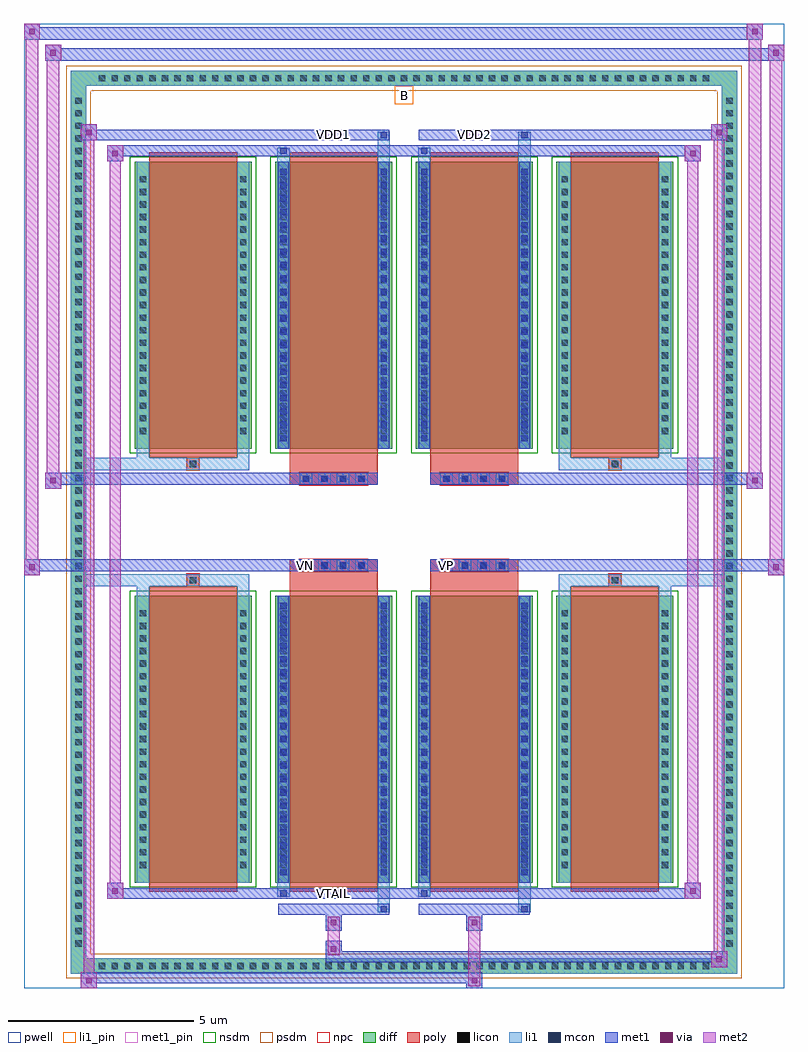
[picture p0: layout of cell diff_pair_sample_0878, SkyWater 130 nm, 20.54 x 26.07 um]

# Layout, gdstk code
import gdstk
lib = gdstk.Library(unit=1e-6, precision=5e-09)
def R(c, l, rs):  # rectangles x0, y0, x1, y1
    for r in rs: c.add(gdstk.rectangle(r[:2], r[2:], *l))
def A(c, l, x, y, w, h, nx, ny, dx, dy):  # array of equal rectangles
    R(c, l, [(x+i*dx, y+j*dy, x+i*dx+w, y+j*dy+h) for i in range(nx) for j in range(ny)])
def P(c, l, *ps):  # polygons
    for p in ps: c.add(gdstk.Polygon(p, *l))
pwell = (64, 44)
diff = (65, 20)
poly = (66, 20)
licon = (66, 44)
li1_pin = (67, 16)
li1 = (67, 20)
mcon = (67, 44)
met1_pin = (68, 16)
met1 = (68, 20)
via = (68, 44)
met2 = (69, 20)
nsdm = (93, 44)
psdm = (94, 20)
npc = (95, 20)

diff_pair_sample_0878 = lib.new_cell('diff_pair_sample_0878')
R(diff_pair_sample_0878, pwell, [(-10.27,-12.6,10.27,13.47), (-7.59,-10.79,-0.01,-0.805), (0.01,-10.79,7.59,-0.805), (-7.59,0.805,-0.01,10.79), (0.01,0.805,7.59,10.79)])
A(diff_pair_sample_0878, diff, -8.365, -12.2, 0.41, 0.41, 49, 2, 0.34, 23.99)
A(diff_pair_sample_0878, diff, -9, -11.595, 0.41, 0.41, 1, 68, 0, 0.34)
A(diff_pair_sample_0878, diff, 8.59, -11.595, 0.41, 0.41, 1, 68, 0, 0.34)
A(diff_pair_sample_0878, diff, -7.28, -9.745, 3.16, 7.76, 4, 2, 3.8, 11.73)
R(diff_pair_sample_0878, diff, [(-8.365,-12.2,8.365,-11.79), (-9,-11.595,-8.59,11.595), (8.59,-11.595,9,11.595), (-8.365,11.79,8.365,12.2)])
P(diff_pair_sample_0878, diff, [(9,12.2),(-9,12.2),(-9,-11.79),(-8.59,-11.79),(-8.59,11.79),(8.59,11.79),(8.59,-11.79),(-8.59,-11.79),(-9,-11.79),(-9,-12.2),(9,-12.2)])
A(diff_pair_sample_0878, poly, -6.89, -9.995, 2.38, 8.26, 4, 2, 3.8, 11.73)
A(diff_pair_sample_0878, poly, -2.815, -1.335, 0.33, 0.33, 4, 2, 0.5, 2.34)
A(diff_pair_sample_0878, poly, 0.985, -1.335, 0.33, 0.33, 4, 2, 0.5, 2.34)
R(diff_pair_sample_0878, poly, [(-5.865,-1.735,-5.535,-1.405), (-5.865,-1.735,-5.535,-1.405), (-3.09,-1.735,-0.71,-1.335), (0.71,-1.735,3.09,-1.335), (5.535,-1.735,5.865,-1.405), (5.535,-1.735,5.865,-1.405), (-3.09,-1.335,-0.71,-1.005), (0.71,-1.335,3.09,-1.005), (-3.09,1.005,-0.71,1.335), (0.71,1.005,3.09,1.335), (-3.09,1.335,-0.71,1.735), (0.71,1.335,3.09,1.735), (-5.865,1.405,-5.535,1.735), (-5.865,1.405,-5.535,1.735), (5.535,1.405,5.865,1.735), (5.535,1.405,5.865,1.735)])
A(diff_pair_sample_0878, licon, -8.245, -12.08, 0.17, 0.17, 49, 2, 0.34, 23.99)
A(diff_pair_sample_0878, licon, -8.88, -11.475, 0.17, 0.17, 1, 68, 0, 0.34)
A(diff_pair_sample_0878, licon, 8.71, -11.475, 0.17, 0.17, 1, 68, 0, 0.34)
A(diff_pair_sample_0878, licon, -7.14, -9.35, 0.17, 0.17, 1, 21, 0, 0.34)
A(diff_pair_sample_0878, licon, -4.43, -9.35, 0.17, 0.17, 1, 21, 0, 0.34)
A(diff_pair_sample_0878, licon, -3.34, -9.35, 0.17, 0.17, 1, 21, 0, 0.34)
A(diff_pair_sample_0878, licon, -0.63, -9.35, 0.17, 0.17, 1, 21, 0, 0.34)
A(diff_pair_sample_0878, licon, 0.46, -9.35, 0.17, 0.17, 1, 21, 0, 0.34)
A(diff_pair_sample_0878, licon, 3.17, -9.35, 0.17, 0.17, 1, 21, 0, 0.34)
A(diff_pair_sample_0878, licon, 4.26, -9.35, 0.17, 0.17, 1, 21, 0, 0.34)
A(diff_pair_sample_0878, licon, 6.97, -9.35, 0.17, 0.17, 1, 21, 0, 0.34)
A(diff_pair_sample_0878, licon, -2.735, -1.255, 0.17, 0.17, 4, 2, 0.5, 2.34)
A(diff_pair_sample_0878, licon, 1.065, -1.255, 0.17, 0.17, 4, 2, 0.5, 2.34)
A(diff_pair_sample_0878, licon, -7.14, 2.38, 0.17, 0.17, 1, 21, 0, 0.34)
A(diff_pair_sample_0878, licon, -4.43, 2.38, 0.17, 0.17, 1, 21, 0, 0.34)
A(diff_pair_sample_0878, licon, -3.34, 2.38, 0.17, 0.17, 1, 21, 0, 0.34)
A(diff_pair_sample_0878, licon, -0.63, 2.38, 0.17, 0.17, 1, 21, 0, 0.34)
A(diff_pair_sample_0878, licon, 0.46, 2.38, 0.17, 0.17, 1, 21, 0, 0.34)
A(diff_pair_sample_0878, licon, 3.17, 2.38, 0.17, 0.17, 1, 21, 0, 0.34)
A(diff_pair_sample_0878, licon, 4.26, 2.38, 0.17, 0.17, 1, 21, 0, 0.34)
A(diff_pair_sample_0878, licon, 6.97, 2.38, 0.17, 0.17, 1, 21, 0, 0.34)
R(diff_pair_sample_0878, licon, [(-5.785,-1.655,-5.615,-1.485), (5.615,-1.655,5.785,-1.485), (-5.785,1.485,-5.615,1.655), (5.615,1.485,5.785,1.655)])
R(diff_pair_sample_0878, li1_pin, [(-0.25,11.29,0.25,11.79)])
A(diff_pair_sample_0878, li1, -8.325, -12.16, 0.33, 0.33, 49, 2, 0.34, 23.99)
A(diff_pair_sample_0878, li1, -8.96, -11.555, 0.33, 0.33, 1, 68, 0, 0.34)
A(diff_pair_sample_0878, li1, 8.63, -11.555, 0.33, 0.33, 1, 68, 0, 0.34)
A(diff_pair_sample_0878, li1, -3.34, -9.55, 0.17, 0.17, 1, 21, 0, 0.36)
A(diff_pair_sample_0878, li1, -0.63, -9.55, 0.17, 0.17, 1, 21, 0, 0.36)
A(diff_pair_sample_0878, li1, 0.46, -9.55, 0.17, 0.17, 1, 21, 0, 0.36)
A(diff_pair_sample_0878, li1, 3.17, -9.55, 0.17, 0.17, 1, 21, 0, 0.36)
A(diff_pair_sample_0878, li1, -7.22, -9.43, 0.33, 0.33, 1, 21, 0, 0.34)
A(diff_pair_sample_0878, li1, -4.51, -9.43, 0.33, 0.33, 1, 21, 0, 0.34)
A(diff_pair_sample_0878, li1, -3.42, -9.43, 0.33, 0.33, 1, 21, 0, 0.34)
A(diff_pair_sample_0878, li1, -0.71, -9.43, 0.33, 0.33, 1, 21, 0, 0.34)
A(diff_pair_sample_0878, li1, 0.38, -9.43, 0.33, 0.33, 1, 21, 0, 0.34)
A(diff_pair_sample_0878, li1, 3.09, -9.43, 0.33, 0.33, 1, 21, 0, 0.34)
A(diff_pair_sample_0878, li1, 4.18, -9.43, 0.33, 0.33, 1, 21, 0, 0.34)
A(diff_pair_sample_0878, li1, 6.89, -9.43, 0.33, 0.33, 1, 21, 0, 0.34)
A(diff_pair_sample_0878, li1, -2.815, -1.335, 0.33, 0.33, 4, 2, 0.5, 2.34)
A(diff_pair_sample_0878, li1, 0.985, -1.335, 0.33, 0.33, 4, 2, 0.5, 2.34)
A(diff_pair_sample_0878, li1, -3.34, 2.18, 0.17, 0.17, 1, 21, 0, 0.36)
A(diff_pair_sample_0878, li1, -0.63, 2.18, 0.17, 0.17, 1, 21, 0, 0.36)
A(diff_pair_sample_0878, li1, 0.46, 2.18, 0.17, 0.17, 1, 21, 0, 0.36)
A(diff_pair_sample_0878, li1, 3.17, 2.18, 0.17, 0.17, 1, 21, 0, 0.36)
A(diff_pair_sample_0878, li1, -7.22, 2.3, 0.33, 0.33, 1, 21, 0, 0.34)
A(diff_pair_sample_0878, li1, -4.51, 2.3, 0.33, 0.33, 1, 21, 0, 0.34)
A(diff_pair_sample_0878, li1, -3.42, 2.3, 0.33, 0.33, 1, 21, 0, 0.34)
A(diff_pair_sample_0878, li1, -0.71, 2.3, 0.33, 0.33, 1, 21, 0, 0.34)
A(diff_pair_sample_0878, li1, 0.38, 2.3, 0.33, 0.33, 1, 21, 0, 0.34)
A(diff_pair_sample_0878, li1, 3.09, 2.3, 0.33, 0.33, 1, 21, 0, 0.34)
A(diff_pair_sample_0878, li1, 4.18, 2.3, 0.33, 0.33, 1, 21, 0, 0.34)
A(diff_pair_sample_0878, li1, 6.89, 2.3, 0.33, 0.33, 1, 21, 0, 0.34)
R(diff_pair_sample_0878, li1, [(-9,-12.2,-8.59,-11.79), (-9,-12.2,-8.59,-11.79), (-8.59,-12.2,8.59,-11.79), (8.59,-12.2,9,-11.79), (8.59,-12.2,9,-11.79), (-9,-11.79,-8.59,11.79), (8.59,-11.79,9,11.79), (-0.71,-10.55,-0.38,-9.745), (-0.63,-10.55,-0.46,-10.38), (3.09,-10.55,3.42,-9.745), (3.17,-10.55,3.34,-10.38), (-3.42,-10.12,-3.09,-9.745), (-3.34,-10.12,-3.17,-9.95), (0.38,-10.12,0.71,-9.745), (0.46,-10.12,0.63,-9.95), (-7.22,-9.745,-6.89,-1.985), (-4.51,-9.745,-4.18,-1.985), (-3.42,-9.745,-3.09,-1.985), (-0.71,-9.745,-0.38,-1.985), (0.38,-9.745,0.71,-1.985), (3.09,-9.745,3.42,-1.985), (4.18,-9.745,4.51,-1.985), (6.89,-9.745,7.22,-1.985), (-3.34,-9.55,-3.17,-2.18), (-0.63,-9.55,-0.46,-2.18), (0.46,-9.55,0.63,-2.18), (3.17,-9.55,3.34,-2.18), (-7.22,-1.985,-6.89,-1.405), (-4.51,-1.985,-4.18,-1.405), (4.18,-1.985,4.51,-1.405), (6.89,-1.985,7.22,-1.405), (-9,-1.735,-5.865,-1.405), (-7.22,-1.735,-5.865,-1.405), (-5.865,-1.735,-5.535,-1.405), (-5.535,-1.735,-4.18,-1.405), (4.18,-1.735,5.535,-1.405), (5.535,-1.735,5.865,-1.405), (5.535,-1.735,9,-1.405), (5.865,-1.735,7.22,-1.405), (-9,1.405,-5.865,1.735), (-7.22,1.405,-5.865,1.735), (-7.22,1.405,-6.89,1.985), (-5.865,1.405,-5.535,1.735), (-5.535,1.405,-4.18,1.735), (-4.51,1.405,-4.18,1.985), (4.18,1.405,5.535,1.735), (4.18,1.405,4.51,1.985), (5.535,1.405,5.865,1.735), (5.535,1.405,9,1.735), (5.865,1.405,7.22,1.735), (6.89,1.405,7.22,1.985), (-7.22,1.985,-6.89,9.745), (-4.51,1.985,-4.18,9.745), (-3.42,1.985,-3.09,9.745), (-0.71,1.985,-0.38,9.745), (0.38,1.985,0.71,9.745), (3.09,1.985,3.42,9.745), (4.18,1.985,4.51,9.745), (6.89,1.985,7.22,9.745), (-3.34,2.18,-3.17,9.55), (-0.63,2.18,-0.46,9.55), (0.46,2.18,0.63,9.55), (3.17,2.18,3.34,9.55), (-3.42,9.745,-3.09,10.12), (-0.71,9.745,-0.38,10.55), (0.38,9.745,0.71,10.12), (3.09,9.745,3.42,10.55), (-3.34,9.95,-3.17,10.12), (0.46,9.95,0.63,10.12), (-0.63,10.38,-0.46,10.55), (3.17,10.38,3.34,10.55), (-9,11.79,-8.59,12.2), (-9,11.79,-8.59,12.2), (-8.59,11.79,8.59,12.2), (8.59,11.79,9,12.2), (8.59,11.79,9,12.2)])
A(diff_pair_sample_0878, mcon, -3.34, -9.55, 0.17, 0.17, 1, 21, 0, 0.36)
A(diff_pair_sample_0878, mcon, -0.63, -9.55, 0.17, 0.17, 1, 21, 0, 0.36)
A(diff_pair_sample_0878, mcon, 0.46, -9.55, 0.17, 0.17, 1, 21, 0, 0.36)
A(diff_pair_sample_0878, mcon, 3.17, -9.55, 0.17, 0.17, 1, 21, 0, 0.36)
A(diff_pair_sample_0878, mcon, -2.735, -1.255, 0.17, 0.17, 4, 2, 0.5, 2.34)
A(diff_pair_sample_0878, mcon, 1.065, -1.255, 0.17, 0.17, 4, 2, 0.5, 2.34)
A(diff_pair_sample_0878, mcon, -3.34, 2.18, 0.17, 0.17, 1, 21, 0, 0.36)
A(diff_pair_sample_0878, mcon, -0.63, 2.18, 0.17, 0.17, 1, 21, 0, 0.36)
A(diff_pair_sample_0878, mcon, 0.46, 2.18, 0.17, 0.17, 1, 21, 0, 0.36)
A(diff_pair_sample_0878, mcon, 3.17, 2.18, 0.17, 0.17, 1, 21, 0, 0.36)
R(diff_pair_sample_0878, mcon, [(-0.63,-10.55,-0.46,-10.38), (3.17,-10.55,3.34,-10.38), (-3.34,-10.12,-3.17,-9.95), (0.46,-10.12,0.63,-9.95), (-3.34,9.95,-3.17,10.12), (0.46,9.95,0.63,10.12), (-0.63,10.38,-0.46,10.55), (3.17,10.38,3.34,10.55)])
R(diff_pair_sample_0878, met1_pin, [(-2.035,-10.16,-1.765,-9.89), (-2.785,-1.295,-2.515,-1.025), (1.015,-1.295,1.285,-1.025), (-2.035,10.34,-1.765,10.61), (1.765,10.34,2.035,10.61)])
A(diff_pair_sample_0878, met1, -3.4, -9.61, 0.29, 0.29, 1, 21, 0, 0.36)
A(diff_pair_sample_0878, met1, -0.69, -9.61, 0.29, 0.29, 1, 21, 0, 0.36)
A(diff_pair_sample_0878, met1, 0.4, -9.61, 0.29, 0.29, 1, 21, 0, 0.36)
A(diff_pair_sample_0878, met1, 3.11, -9.61, 0.29, 0.29, 1, 21, 0, 0.36)
A(diff_pair_sample_0878, met1, -2.795, -1.315, 0.29, 0.29, 4, 2, 0.5, 2.34)
A(diff_pair_sample_0878, met1, 1.005, -1.315, 0.29, 0.29, 4, 2, 0.5, 2.34)
A(diff_pair_sample_0878, met1, -3.4, 2.12, 0.29, 0.29, 1, 21, 0, 0.36)
A(diff_pair_sample_0878, met1, -0.69, 2.12, 0.29, 0.29, 1, 21, 0, 0.36)
A(diff_pair_sample_0878, met1, 0.4, 2.12, 0.29, 0.29, 1, 21, 0, 0.36)
A(diff_pair_sample_0878, met1, 3.11, 2.12, 0.29, 0.29, 1, 21, 0, 0.36)
R(diff_pair_sample_0878, met1, [(-8.73,-12.6,-8.3,-12.17), (1.685,-12.6,2.115,-12.17), (-8.73,-12.46,2.115,-12.17), (8.3,-12.03,8.73,-11.6), (-2.115,-11.89,8.73,-11.6), (-2.115,-11.75,-1.685,-11.32), (-2.115,-11.04,-1.685,-10.61), (1.685,-11.04,2.115,-10.61), (-3.4,-10.61,-0.4,-10.32), (-0.69,-10.61,-0.4,-10.32), (0.4,-10.61,3.4,-10.32), (3.11,-10.61,3.4,-10.32), (-8.02,-10.18,-7.59,-9.75), (-8.02,-10.18,-3.4,-9.89), (-3.4,-10.18,-3.11,-9.89), (-3.4,-10.18,-0.4,-9.89), (-0.4,-10.18,0.4,-9.89), (0.4,-10.18,0.69,-9.89), (0.4,-10.18,3.4,-9.89), (3.4,-10.18,8.02,-9.89), (7.59,-10.18,8.02,-9.75), (-3.4,-9.745,-3.11,-1.985), (-0.69,-9.745,-0.4,-1.985), (0.4,-9.745,0.69,-1.985), (3.11,-9.745,3.4,-1.985), (-10.27,-1.435,-9.84,-1.005), (9.84,-1.435,10.27,-1.005), (-10.27,-1.335,-0.71,-1.005), (-3.09,-1.335,-0.71,-1.005), (0.71,-1.335,3.09,-1.005), (0.71,-1.335,10.27,-1.005), (-9.7,0.905,-9.27,1.335), (9.27,0.905,9.7,1.335), (-9.7,1.005,-3.09,1.335), (-3.09,1.005,-0.71,1.335), (0.71,1.005,3.09,1.335), (3.09,1.005,9.7,1.335), (-3.4,1.985,-3.11,9.745), (-0.69,1.985,-0.4,9.745), (0.4,1.985,0.69,9.745), (3.11,1.985,3.4,9.745), (-8.02,9.75,-7.59,10.18), (7.59,9.75,8.02,10.18), (-8.02,9.89,-3.4,10.18), (-3.4,9.89,-3.11,10.18), (-3.4,9.89,-0.4,10.18), (-0.4,9.89,0.4,10.18), (0.4,9.89,0.69,10.18), (0.4,9.89,3.4,10.18), (3.4,9.89,8.02,10.18), (-8.73,10.32,-8.3,10.75), (-8.73,10.32,-3.4,10.61), (-3.4,10.32,-0.4,10.61), (-0.69,10.32,-0.4,10.61), (0.4,10.32,3.4,10.61), (3.11,10.32,3.4,10.61), (3.4,10.32,8.73,10.61), (8.3,10.32,8.73,10.75), (-9.7,12.47,-9.27,12.9), (-9.7,12.47,-7.59,12.8), (-7.59,12.47,7.59,12.8), (7.59,12.47,10.27,12.8), (9.84,12.47,10.27,12.9), (-10.27,13.04,-9.84,13.47), (-10.27,13.04,-7.59,13.37), (-7.59,13.04,7.59,13.37), (7.59,13.04,9.7,13.37), (9.27,13.04,9.7,13.47)])
R(diff_pair_sample_0878, via, [(-8.59,-12.46,-8.44,-12.31), (1.825,-12.46,1.975,-12.31), (8.44,-11.89,8.59,-11.74), (-1.975,-11.61,-1.825,-11.46), (-1.975,-10.9,-1.825,-10.75), (1.825,-10.9,1.975,-10.75), (-7.88,-10.04,-7.73,-9.89), (7.73,-10.04,7.88,-9.89), (-10.13,-1.295,-9.98,-1.145), (9.98,-1.295,10.13,-1.145), (-9.56,1.045,-9.41,1.195), (9.41,1.045,9.56,1.195), (-7.88,9.89,-7.73,10.04), (7.73,9.89,7.88,10.04), (-8.59,10.46,-8.44,10.61), (8.44,10.46,8.59,10.61), (-9.56,12.61,-9.41,12.76), (9.98,12.61,10.13,12.76), (-10.13,13.18,-9.98,13.33), (9.41,13.18,9.56,13.33)])
R(diff_pair_sample_0878, met2, [(-8.73,-12.6,-8.3,-12.17), (-8.66,-12.6,-8.37,10.75), (-8.37,-12.6,-8.3,-12.17), (-8.68,-12.55,-8.35,-12.22), (1.735,-12.55,2.065,-12.22), (1.735,-12.22,2.065,-10.99), (8.3,-12.03,8.73,-11.6), (8.37,-12.03,8.66,10.75), (8.66,-12.03,8.73,-11.6), (8.35,-11.98,8.68,-11.65), (-2.065,-11.7,-1.735,-11.37), (-2.065,-11.37,-1.735,-10.99), (-2.065,-10.99,-1.735,-10.66), (1.735,-10.99,2.065,-10.66), (-8.02,-10.18,-7.59,-9.75), (-7.95,-10.18,-7.66,10.18), (-7.66,-10.18,-7.59,-9.75), (7.59,-10.18,8.02,-9.75), (7.66,-10.18,7.95,10.18), (7.95,-10.18,8.02,-9.75), (-7.97,-10.13,-7.64,-9.8), (7.64,-10.13,7.97,-9.8), (-10.27,-1.435,-9.84,-1.005), (-10.22,-1.435,-9.89,13.47), (-9.89,-1.435,-9.84,-1.005), (9.84,-1.435,10.27,-1.005), (9.89,-1.435,10.22,12.9), (10.22,-1.435,10.27,-1.005), (-10.22,-1.385,-9.89,-1.055), (9.89,-1.385,10.22,-1.055), (-9.7,0.905,-9.27,1.335), (-9.65,0.905,-9.32,12.9), (-9.32,0.905,-9.27,1.335), (9.27,0.905,9.7,1.335), (9.32,0.905,9.65,13.47), (9.65,0.905,9.7,1.335), (-9.65,0.955,-9.32,1.285), (9.32,0.955,9.65,1.285), (-8.02,9.75,-7.59,10.18), (-7.66,9.75,-7.59,10.18), (7.59,9.75,8.02,10.18), (7.95,9.75,8.02,10.18), (-7.97,9.8,-7.64,10.13), (7.64,9.8,7.97,10.13), (-8.73,10.32,-8.3,10.75), (-8.37,10.32,-8.3,10.75), (8.3,10.32,8.73,10.75), (8.66,10.32,8.73,10.75), (-8.68,10.37,-8.35,10.7), (8.35,10.37,8.68,10.7), (-9.7,12.47,-9.27,12.9), (-9.32,12.47,-9.27,12.9), (9.84,12.47,10.27,12.9), (10.22,12.47,10.27,12.9), (-9.65,12.52,-9.32,12.85), (9.89,12.52,10.22,12.85), (-10.27,13.04,-9.84,13.47), (-9.89,13.04,-9.84,13.47), (9.27,13.04,9.7,13.47), (9.65,13.04,9.7,13.47), (-10.22,13.09,-9.89,13.42), (9.32,13.09,9.65,13.42)])
A(diff_pair_sample_0878, nsdm, -7.41, -9.875, 3.42, 8.02, 4, 2, 3.8, 11.73)
P(diff_pair_sample_0878, psdm, [(9.13,12.33),(-9.13,12.33),(-9.13,-11.66),(-8.46,-11.66),(-8.46,11.66),(8.46,11.66),(8.46,-11.66),(-8.46,-11.66),(-9.13,-11.66),(-9.13,-12.33),(9.13,-12.33)])
A(diff_pair_sample_0878, npc, -2.835, -1.355, 0.37, 0.37, 4, 2, 0.5, 2.34)
A(diff_pair_sample_0878, npc, 0.965, -1.355, 0.37, 0.37, 4, 2, 0.5, 2.34)
R(diff_pair_sample_0878, npc, [(-5.885,-1.755,-5.515,-1.385), (5.515,-1.755,5.885,-1.385), (-2.835,-1.355,-1.965,-0.985), (-2.835,-1.355,-1.965,-0.985), (-2.335,-1.355,-1.465,-0.985), (-2.335,-1.355,-1.465,-0.985), (-1.835,-1.355,-0.965,-0.985), (-1.835,-1.355,-0.965,-0.985), (0.965,-1.355,1.835,-0.985), (0.965,-1.355,1.835,-0.985), (1.465,-1.355,2.335,-0.985), (1.465,-1.355,2.335,-0.985), (1.965,-1.355,2.835,-0.985), (1.965,-1.355,2.835,-0.985), (-2.835,0.985,-1.965,1.355), (-2.835,0.985,-1.965,1.355), (-2.335,0.985,-1.465,1.355), (-2.335,0.985,-1.465,1.355), (-1.835,0.985,-0.965,1.355), (-1.835,0.985,-0.965,1.355), (0.965,0.985,1.835,1.355), (0.965,0.985,1.835,1.355), (1.465,0.985,2.335,1.355), (1.465,0.985,2.335,1.355), (1.965,0.985,2.835,1.355), (1.965,0.985,2.835,1.355), (-5.885,1.385,-5.515,1.755), (5.515,1.385,5.885,1.755)])
diff_pair_sample_0878.add(gdstk.Label('VTAIL', (-1.9,-10.025), layer=68, texttype=5))
diff_pair_sample_0878.add(gdstk.Label('VN', (-2.65,-1.16), layer=68, texttype=5))
diff_pair_sample_0878.add(gdstk.Label('VP', (1.15,-1.16), layer=68, texttype=5))
diff_pair_sample_0878.add(gdstk.Label('B', (0,11.54), layer=67, texttype=5))
diff_pair_sample_0878.add(gdstk.Label('VDD2', (1.9,10.475), layer=68, texttype=5))
diff_pair_sample_0878.add(gdstk.Label('VDD1', (-1.9,10.475), layer=68, texttype=5))

lib.write_gds('diff_pair_sample_0878.gds')
